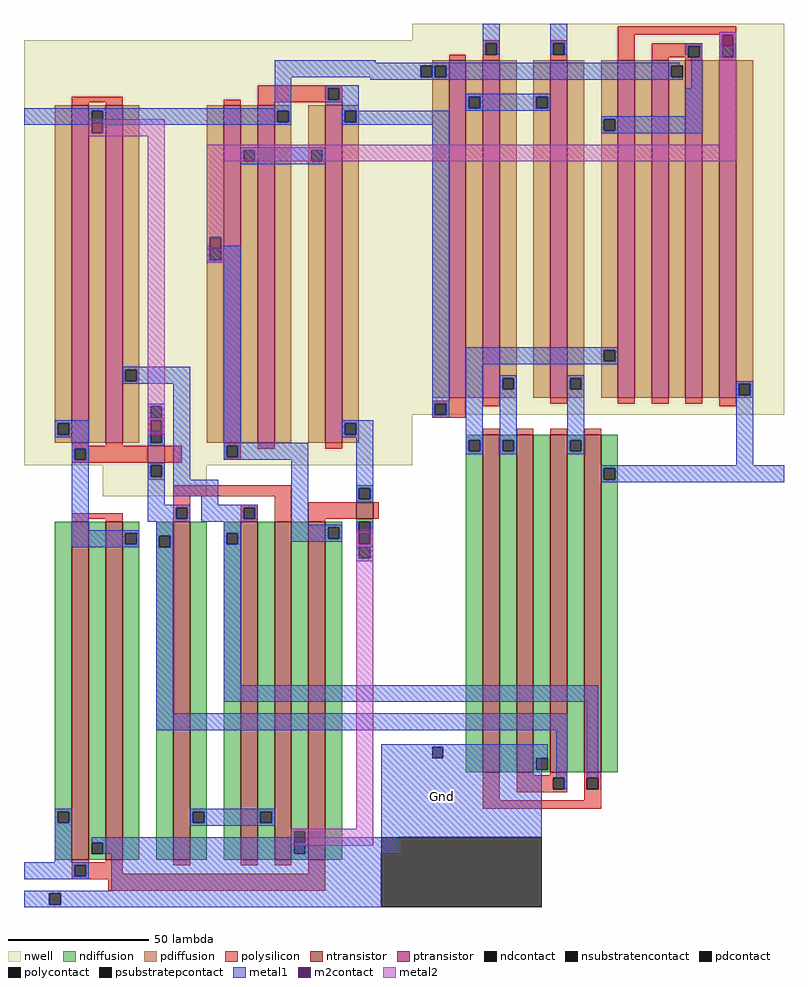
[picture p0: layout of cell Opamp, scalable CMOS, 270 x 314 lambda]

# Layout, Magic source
magic
tech scmos
<< metal1 >>
rect -66 14 -9 47
rect -160 -11 -66 14
<< psubstratepcontact >>
rect -66 -11 -9 14
use Bias  Bias_0
transform 1 0 -262 0 1 255
box 69 -266 207 42
use FCDAmp  FCDAmp_0
transform 1 0 -28 0 1 92
box -27 -68 105 211
<< labels >>
rlabel metal1 -52 10 -37 47 1 Gnd
<< end >>

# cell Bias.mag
magic
tech scmos
<< nwell >>
rect 69 -109 207 42
rect 97 -120 134 -109
<< ntransistor >>
rect 187 -128 193 -122
rect 86 -249 92 -129
rect 98 -249 104 -129
rect 122 -249 128 -129
rect 146 -249 152 -129
rect 158 -249 164 -129
rect 170 -249 176 -129
<< ptransistor >>
rect 86 -101 92 19
rect 98 -101 104 19
rect 140 -101 146 19
rect 152 -101 158 19
rect 176 -101 182 19
rect 113 -108 119 -102
<< ndiffusion >>
rect 187 -117 193 -116
rect 187 -121 188 -117
rect 192 -121 193 -117
rect 187 -122 193 -121
rect 187 -129 193 -128
rect 80 -232 86 -129
rect 80 -236 81 -232
rect 85 -236 86 -232
rect 80 -249 86 -236
rect 92 -243 98 -129
rect 92 -247 93 -243
rect 97 -247 98 -243
rect 92 -249 98 -247
rect 104 -133 110 -129
rect 104 -137 105 -133
rect 109 -137 110 -133
rect 104 -249 110 -137
rect 116 -134 122 -129
rect 116 -138 117 -134
rect 121 -138 122 -134
rect 116 -249 122 -138
rect 128 -232 134 -129
rect 128 -236 129 -232
rect 133 -236 134 -232
rect 128 -249 134 -236
rect 140 -133 146 -129
rect 140 -137 141 -133
rect 145 -137 146 -133
rect 140 -249 146 -137
rect 152 -232 158 -129
rect 152 -236 153 -232
rect 157 -236 158 -232
rect 152 -249 158 -236
rect 164 -243 170 -129
rect 164 -247 165 -243
rect 169 -247 170 -243
rect 164 -249 170 -247
rect 176 -131 182 -129
rect 176 -135 177 -131
rect 181 -135 182 -131
rect 176 -249 182 -135
rect 187 -133 188 -129
rect 192 -133 193 -129
rect 187 -138 193 -133
<< pdiffusion >>
rect 80 -94 86 19
rect 80 -98 81 -94
rect 85 -98 86 -94
rect 80 -101 86 -98
rect 92 17 98 19
rect 92 13 93 17
rect 97 13 98 17
rect 92 -101 98 13
rect 104 -75 110 19
rect 104 -79 105 -75
rect 109 -79 110 -75
rect 104 -101 110 -79
rect 134 -32 140 19
rect 134 -36 135 -32
rect 139 -36 140 -32
rect 113 -97 119 -92
rect 113 -101 114 -97
rect 118 -101 119 -97
rect 134 -101 140 -36
rect 146 3 152 19
rect 146 -1 147 3
rect 151 -1 152 3
rect 146 -101 152 -1
rect 158 17 164 19
rect 158 13 159 17
rect 163 13 164 17
rect 158 -101 164 13
rect 170 3 176 19
rect 170 -1 171 3
rect 175 -1 176 3
rect 170 -101 176 -1
rect 182 17 188 19
rect 182 13 183 17
rect 187 13 188 17
rect 182 -94 188 13
rect 182 -98 183 -94
rect 187 -98 188 -94
rect 182 -101 188 -98
rect 113 -102 119 -101
rect 113 -109 119 -108
rect 113 -113 114 -109
rect 118 -113 119 -109
rect 113 -114 119 -113
<< ndcontact >>
rect 188 -121 192 -117
rect 81 -236 85 -232
rect 93 -247 97 -243
rect 105 -137 109 -133
rect 117 -138 121 -134
rect 129 -236 133 -232
rect 141 -137 145 -133
rect 153 -236 157 -232
rect 165 -247 169 -243
rect 177 -135 181 -131
rect 188 -133 192 -129
<< pdcontact >>
rect 81 -98 85 -94
rect 93 13 97 17
rect 105 -79 109 -75
rect 135 -36 139 -32
rect 114 -101 118 -97
rect 147 -1 151 3
rect 159 13 163 17
rect 171 -1 175 3
rect 183 13 187 17
rect 183 -98 187 -94
rect 114 -113 118 -109
<< psubstratepcontact >>
rect 188 -142 192 -138
rect 78 -265 82 -261
<< nsubstratencontact >>
rect 114 -92 118 -88
<< polysilicon >>
rect 152 25 182 26
rect 86 20 104 22
rect 152 21 177 25
rect 181 21 182 25
rect 86 19 92 20
rect 98 19 104 20
rect 140 19 146 21
rect 152 20 182 21
rect 152 19 158 20
rect 176 19 182 20
rect 86 -102 92 -101
rect 98 -102 104 -101
rect 140 -102 146 -101
rect 86 -103 113 -102
rect 86 -107 87 -103
rect 91 -107 113 -103
rect 86 -108 113 -107
rect 119 -108 125 -102
rect 140 -106 141 -102
rect 145 -106 146 -102
rect 152 -103 158 -101
rect 176 -103 182 -101
rect 140 -107 146 -106
rect 122 -120 164 -116
rect 122 -124 128 -120
rect 86 -128 104 -126
rect 86 -129 92 -128
rect 98 -129 104 -128
rect 122 -128 123 -124
rect 127 -128 128 -124
rect 122 -129 128 -128
rect 146 -124 152 -123
rect 146 -128 147 -124
rect 151 -128 152 -124
rect 146 -129 152 -128
rect 158 -129 164 -120
rect 170 -128 187 -122
rect 193 -128 195 -122
rect 170 -129 176 -128
rect 86 -250 92 -249
rect 98 -250 104 -249
rect 86 -251 104 -250
rect 122 -251 128 -249
rect 146 -251 152 -249
rect 158 -251 164 -249
rect 86 -255 87 -251
rect 91 -254 104 -251
rect 170 -254 176 -249
rect 91 -255 176 -254
rect 86 -256 176 -255
rect 99 -260 176 -256
<< polycontact >>
rect 177 21 181 25
rect 87 -107 91 -103
rect 141 -106 145 -102
rect 123 -128 127 -124
rect 147 -128 151 -124
rect 87 -255 91 -251
<< metal1 >>
rect 158 34 194 35
rect 158 29 207 34
rect 158 18 164 29
rect 192 28 207 29
rect 176 25 188 26
rect 176 21 177 25
rect 181 21 188 25
rect 176 20 188 21
rect 69 17 164 18
rect 69 12 93 17
rect 97 13 159 17
rect 163 13 164 17
rect 97 12 164 13
rect 182 17 188 20
rect 182 13 183 17
rect 187 13 207 17
rect 182 12 207 13
rect 146 3 176 4
rect 146 -1 147 3
rect 151 -1 171 3
rect 175 -1 176 3
rect 146 -2 176 -1
rect 134 -36 135 -31
rect 139 -36 146 -31
rect 134 -37 146 -36
rect 104 -75 128 -74
rect 104 -79 105 -75
rect 109 -79 128 -75
rect 104 -80 128 -79
rect 113 -88 119 -87
rect 113 -92 114 -88
rect 118 -92 119 -88
rect 113 -93 119 -92
rect 80 -94 92 -93
rect 80 -98 81 -94
rect 85 -98 92 -94
rect 80 -99 92 -98
rect 86 -103 92 -99
rect 113 -101 114 -93
rect 118 -101 119 -93
rect 113 -102 119 -101
rect 86 -107 87 -103
rect 91 -107 92 -103
rect 86 -132 92 -107
rect 113 -109 119 -108
rect 113 -113 114 -109
rect 118 -113 119 -109
rect 113 -123 119 -113
rect 122 -114 128 -80
rect 140 -101 146 -37
rect 182 -94 193 -93
rect 182 -98 183 -94
rect 187 -98 193 -94
rect 182 -99 193 -98
rect 140 -102 170 -101
rect 140 -106 141 -102
rect 145 -106 170 -102
rect 140 -107 170 -106
rect 122 -120 138 -114
rect 132 -123 138 -120
rect 113 -124 128 -123
rect 113 -128 123 -124
rect 127 -128 128 -124
rect 113 -129 128 -128
rect 132 -124 152 -123
rect 132 -128 147 -124
rect 151 -128 152 -124
rect 132 -129 152 -128
rect 86 -133 110 -132
rect 86 -137 105 -133
rect 109 -137 110 -133
rect 86 -138 110 -137
rect 116 -134 122 -129
rect 116 -138 117 -134
rect 121 -138 122 -134
rect 116 -197 122 -138
rect 140 -133 146 -129
rect 140 -137 141 -133
rect 145 -137 146 -133
rect 164 -130 170 -107
rect 187 -117 193 -99
rect 187 -121 188 -117
rect 192 -121 193 -117
rect 187 -122 193 -121
rect 164 -131 182 -130
rect 164 -135 177 -131
rect 181 -135 182 -131
rect 164 -136 182 -135
rect 140 -187 146 -137
rect 187 -137 188 -129
rect 192 -137 193 -129
rect 187 -138 193 -137
rect 187 -142 188 -138
rect 192 -142 193 -138
rect 187 -143 193 -142
rect 140 -193 207 -187
rect 116 -203 207 -197
rect 196 -214 207 -208
rect 80 -232 86 -231
rect 80 -236 81 -232
rect 85 -236 86 -232
rect 80 -250 86 -236
rect 128 -232 158 -231
rect 128 -236 129 -232
rect 133 -236 153 -232
rect 157 -236 158 -232
rect 128 -237 158 -236
rect 93 -243 165 -241
rect 196 -241 202 -214
rect 97 -247 165 -243
rect 169 -247 202 -241
rect 69 -251 92 -250
rect 69 -255 87 -251
rect 91 -255 92 -251
rect 69 -256 92 -255
rect 100 -260 106 -247
rect 69 -261 106 -260
rect 69 -265 78 -261
rect 82 -265 106 -261
rect 69 -266 106 -265
<< m2contact >>
rect 93 9 97 13
rect 135 -32 139 -28
rect 114 -97 118 -93
rect 188 -137 192 -133
rect 165 -243 169 -239
<< metal2 >>
rect 92 13 119 14
rect 92 9 93 13
rect 97 9 119 13
rect 92 8 119 9
rect 113 -93 119 8
rect 134 -1 207 5
rect 134 -28 140 -1
rect 134 -32 135 -28
rect 139 -32 140 -28
rect 134 -37 140 -32
rect 113 -97 114 -93
rect 118 -97 119 -93
rect 113 -98 119 -97
rect 187 -133 193 -132
rect 187 -137 188 -133
rect 192 -137 193 -133
rect 187 -238 193 -137
rect 164 -239 193 -238
rect 164 -243 165 -239
rect 169 -243 193 -239
rect 164 -244 193 -243
<< labels >>
rlabel metal1 192 28 207 34 1 Vdd
rlabel metal1 187 12 207 17 1 Vbp
rlabel metal2 134 -1 207 5 1 Vcp
rlabel metal1 140 -193 207 -187 1 Vcn
rlabel metal1 116 -203 207 -197 1 Vbn
rlabel metal1 69 -256 87 -250 1 Iin
rlabel metal1 69 12 93 18 1 Vdd
rlabel metal1 86 -138 92 -107 1 Iip
<< end >>

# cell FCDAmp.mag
magic
tech scmos
<< nwell >>
rect -27 72 105 211
<< ntransistor >>
rect -2 -55 4 65
rect 10 -55 16 65
rect 22 -55 28 65
rect 34 -55 40 65
<< ptransistor >>
rect -14 78 -8 198
rect -2 78 4 198
rect 22 78 28 198
rect 46 78 52 198
rect 58 78 64 198
rect 70 78 76 198
rect 82 78 88 198
<< ndiffusion >>
rect -8 63 -2 65
rect -8 59 -7 63
rect -3 59 -2 63
rect -8 -55 -2 59
rect 4 63 10 65
rect 4 59 5 63
rect 9 59 10 63
rect 4 -55 10 59
rect 16 -50 22 65
rect 16 -54 17 -50
rect 21 -54 22 -50
rect 16 -55 22 -54
rect 28 63 34 65
rect 28 59 29 63
rect 33 59 34 63
rect 28 -55 34 59
rect 40 53 46 65
rect 40 49 41 53
rect 45 49 46 53
rect 40 -55 46 49
<< pdiffusion >>
rect -20 196 -14 198
rect -20 192 -19 196
rect -15 192 -14 196
rect -20 78 -14 192
rect -8 185 -2 198
rect -8 181 -7 185
rect -3 181 -2 185
rect -8 78 -2 181
rect 4 85 10 198
rect 4 81 5 85
rect 9 81 10 85
rect 4 78 10 81
rect 16 185 22 198
rect 16 181 17 185
rect 21 181 22 185
rect 16 78 22 181
rect 28 85 34 198
rect 28 81 29 85
rect 33 81 34 85
rect 28 78 34 81
rect 40 177 46 198
rect 40 173 41 177
rect 45 173 46 177
rect 40 95 46 173
rect 40 91 41 95
rect 45 91 46 95
rect 40 78 46 91
rect 52 78 58 198
rect 64 196 70 198
rect 64 192 65 196
rect 69 192 70 196
rect 64 78 70 192
rect 76 78 82 198
rect 88 83 94 198
rect 88 79 89 83
rect 93 79 94 83
rect 88 78 94 79
<< ndcontact >>
rect -7 59 -3 63
rect 5 59 9 63
rect 17 -54 21 -50
rect 29 59 33 63
rect 41 49 45 53
<< pdcontact >>
rect -19 192 -15 196
rect -7 181 -3 185
rect 5 81 9 85
rect 17 181 21 185
rect 29 81 33 85
rect 41 173 45 177
rect 41 91 45 95
rect 65 192 69 196
rect 89 79 93 83
<< psubstratepcontact >>
rect -20 -50 -16 -46
<< nsubstratencontact >>
rect -24 192 -20 196
<< polysilicon >>
rect 46 207 88 210
rect -2 204 4 205
rect -2 200 -1 204
rect 3 200 4 204
rect -14 198 -8 200
rect -2 198 4 200
rect 22 204 28 205
rect 22 200 23 204
rect 27 200 28 204
rect 22 198 28 200
rect 46 198 52 207
rect 58 203 76 204
rect 58 199 71 203
rect 75 199 76 203
rect 58 198 64 199
rect 70 198 76 199
rect 82 203 88 207
rect 82 199 83 203
rect 87 199 88 203
rect 82 198 88 199
rect -14 77 -8 78
rect -20 76 -8 77
rect -20 72 -19 76
rect -15 72 -8 76
rect -2 75 4 78
rect 22 76 28 78
rect 46 76 52 78
rect 58 76 64 78
rect 70 76 76 78
rect 82 75 88 78
rect -20 71 -8 72
rect -2 65 4 67
rect 10 65 16 67
rect 22 65 28 67
rect 34 65 40 67
rect -2 -65 4 -55
rect 10 -56 16 -55
rect 22 -56 28 -55
rect 10 -57 28 -56
rect 10 -61 23 -57
rect 27 -61 28 -57
rect 10 -62 28 -61
rect 34 -57 40 -55
rect 34 -61 35 -57
rect 39 -61 40 -57
rect 34 -65 40 -61
rect -2 -68 40 -65
<< polycontact >>
rect -1 200 3 204
rect 23 200 27 204
rect 71 199 75 203
rect 83 199 87 203
rect -19 72 -15 76
rect 23 -61 27 -57
rect 35 -61 39 -57
<< metal1 >>
rect -2 204 4 211
rect -2 200 -1 204
rect 3 200 4 204
rect 22 204 28 211
rect 22 200 23 204
rect 27 200 28 204
rect 70 203 76 204
rect 70 200 71 203
rect 75 199 76 203
rect 82 199 83 204
rect 87 199 88 204
rect -27 196 68 197
rect -27 192 -24 196
rect -20 192 -19 196
rect -15 192 65 196
rect -27 191 69 192
rect 72 188 76 199
rect -8 185 22 186
rect -8 181 -7 185
rect -3 181 17 185
rect 21 181 22 185
rect -8 180 22 181
rect -27 175 -14 180
rect 70 178 76 188
rect -20 76 -14 175
rect 40 177 76 178
rect 40 173 41 177
rect 45 173 76 177
rect 40 172 76 173
rect -20 72 -19 76
rect -15 72 -14 76
rect -20 71 -14 72
rect -8 95 46 96
rect -8 91 41 95
rect 45 91 46 95
rect -8 90 46 91
rect -8 63 -2 90
rect -8 59 -7 63
rect -3 59 -2 63
rect -8 58 -2 59
rect 4 85 10 86
rect 4 81 5 85
rect 9 81 10 85
rect 4 63 10 81
rect 4 59 5 63
rect 9 59 10 63
rect 4 58 10 59
rect 28 85 34 86
rect 28 81 29 85
rect 33 81 34 85
rect 28 63 34 81
rect 28 59 29 63
rect 33 59 34 63
rect 28 58 34 59
rect 88 83 94 84
rect 88 79 89 83
rect 93 79 94 83
rect 88 54 94 79
rect 40 53 105 54
rect 40 49 41 53
rect 45 49 105 53
rect 40 48 105 49
rect -27 -30 39 -24
rect -27 -40 28 -34
rect -27 -46 21 -45
rect -27 -50 -20 -46
rect -16 -50 21 -46
rect -27 -51 17 -50
rect 16 -54 17 -51
rect 24 -57 28 -40
rect 27 -61 28 -57
rect 35 -57 39 -30
<< m2contact >>
rect 83 203 87 207
<< metal2 >>
rect 82 207 88 208
rect 82 203 83 207
rect 87 203 88 207
rect 82 168 88 203
rect -27 162 88 168
<< labels >>
rlabel metal1 -25 191 -24 197 3 Vdd
rlabel metal1 -25 175 -14 180 1 Vbp
rlabel metal2 -25 162 88 168 1 Vcp
rlabel metal1 95 48 105 54 7 Out
rlabel metal1 -25 -30 39 -24 1 Vcn
rlabel metal1 -25 -40 28 -34 1 Vbn
rlabel metal1 -16 -51 17 -45 1 Gnd
rlabel metal1 22 204 28 211 5 V1
rlabel nwell -2 200 4 211 1 V2
<< end >>
